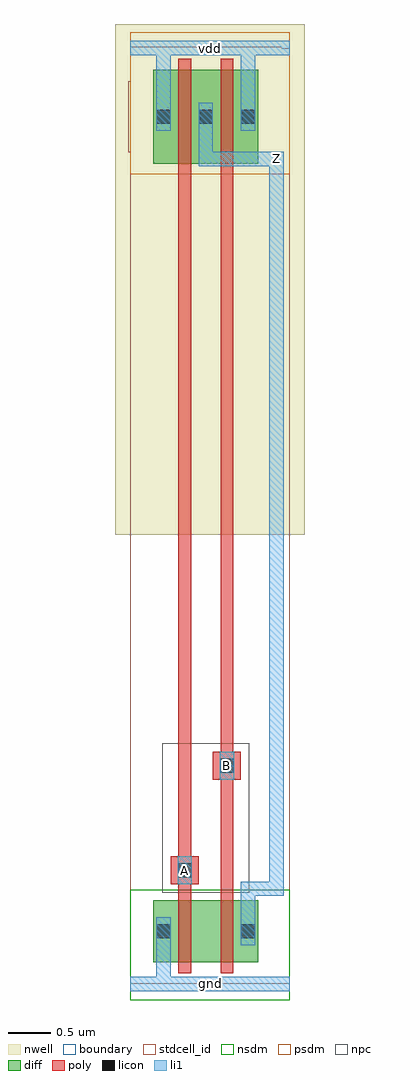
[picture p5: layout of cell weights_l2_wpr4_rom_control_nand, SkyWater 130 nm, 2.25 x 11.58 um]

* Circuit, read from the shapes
.subckt weights_l2_wpr4_rom_control_nand A B Z gnd vdd
XM1 weights_l2_wpr4_nmos_m1_w0_740_sli_dactive_2/D A gnd VSUBS sky130_fd_pr__nfet_01v8 w=0.74 l=0.15
XM2 Z B weights_l2_wpr4_nmos_m1_w0_740_sli_dactive_2/D VSUBS sky130_fd_pr__nfet_01v8 w=0.74 l=0.15
XM3 Z A vdd n1 sky130_fd_pr__pfet_01v8 w=1.12 l=0.15
XM4 vdd B Z n1 sky130_fd_pr__pfet_01v8 w=1.12 l=0.15
.ends

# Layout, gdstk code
import gdstk
lib = gdstk.Library(unit=1e-6, precision=1e-09)
def R(c, l, rs):  # rectangles x0, y0, x1, y1
    for r in rs: c.add(gdstk.rectangle(r[:2], r[2:], *l))
nwell = (64, 20)
diff = (65, 20)
poly = (66, 20)
licon = (66, 44)
li1 = (67, 20)
stdcell_id = (81, 4)
nsdm = (93, 44)
psdm = (94, 20)
npc = (95, 20)
boundary = (235, 4)

weights_l2_wpr4_contact_ = lib.new_cell('weights_l2_wpr4_contact_10')
R(weights_l2_wpr4_contact_, nwell, [(-0.295,-0.255,0.545,0.585)])
R(weights_l2_wpr4_contact_, diff, [(0,0.02,0.25,0.31)])
R(weights_l2_wpr4_contact_, licon, [(0.04,0.08,0.21,0.25)])
R(weights_l2_wpr4_contact_, li1, [(0.04,0,0.21,0.33)])
R(weights_l2_wpr4_contact_, stdcell_id, [(-0.295,-0.255,0.545,0.585)])
R(weights_l2_wpr4_contact_, psdm, [(-0.125,-0.105,0.375,0.435)])
R(weights_l2_wpr4_contact_, boundary, [(-0.295,-0.255,0.545,0.585)])

weights_l2_wpr4_pmos_m1_ = lib.new_cell('weights_l2_wpr4_pmos_m1_w1_120_sli_dli')
R(weights_l2_wpr4_pmos_m1_, nwell, [(-0.27,-0.27,1.02,1.39)])
R(weights_l2_wpr4_pmos_m1_, diff, [(0,0,0.75,1.12)])
R(weights_l2_wpr4_pmos_m1_, poly, [(0.3,-0.13,0.45,1.25), (0.3,-0.13,0.45,1.25)])
R(weights_l2_wpr4_pmos_m1_, li1, [(0.04,0.395,0.21,0.725), (0.54,0.395,0.71,0.725)])
R(weights_l2_wpr4_pmos_m1_, stdcell_id, [(-0.27,-0.27,1.02,1.39)])
R(weights_l2_wpr4_pmos_m1_, psdm, [(-0.125,-0.125,0.875,1.245)])
R(weights_l2_wpr4_pmos_m1_, boundary, [(-0.27,-0.27,1.02,1.39)])
weights_l2_wpr4_pmos_m1_.add(gdstk.Reference(weights_l2_wpr4_contact_, (0,0.395)))
weights_l2_wpr4_pmos_m1_.add(gdstk.Reference(weights_l2_wpr4_contact_, (0.5,0.395)))
weights_l2_wpr4_pmos_m1_.add(gdstk.Label('G', (0.375,0.56), layer=66, texttype=5))
weights_l2_wpr4_pmos_m1_.add(gdstk.Label('S', (0.125,0.56), layer=67, texttype=5))
weights_l2_wpr4_pmos_m1_.add(gdstk.Label('D', (0.625,0.56), layer=67, texttype=5))

c_weights_l2_wpr4_contact_ = lib.new_cell('weights_l2_wpr4_contact_8')
R(c_weights_l2_wpr4_contact_, diff, [(0,0.02,0.25,0.31)])
R(c_weights_l2_wpr4_contact_, licon, [(0.04,0.08,0.21,0.25)])
R(c_weights_l2_wpr4_contact_, li1, [(0.04,0,0.21,0.33)])
R(c_weights_l2_wpr4_contact_, stdcell_id, [(-0.125,-0.105,0.375,0.435)])
R(c_weights_l2_wpr4_contact_, nsdm, [(-0.125,-0.105,0.375,0.435)])
R(c_weights_l2_wpr4_contact_, boundary, [(-0.125,-0.105,0.375,0.435)])

weights_l2_wpr4_nmos_m1_ = lib.new_cell('weights_l2_wpr4_nmos_m1_w0_740_sli_dactive')
R(weights_l2_wpr4_nmos_m1_, diff, [(0,0,0.75,0.74), (0.55,0.295,0.7,0.445)])
R(weights_l2_wpr4_nmos_m1_, poly, [(0.3,-0.13,0.45,0.87), (0.3,-0.13,0.45,0.87)])
R(weights_l2_wpr4_nmos_m1_, li1, [(0.04,0.205,0.21,0.535)])
R(weights_l2_wpr4_nmos_m1_, stdcell_id, [(-0.125,-0.13,0.875,0.87)])
R(weights_l2_wpr4_nmos_m1_, nsdm, [(-0.125,-0.125,0.875,0.865)])
R(weights_l2_wpr4_nmos_m1_, boundary, [(-0.125,-0.13,0.875,0.87)])
weights_l2_wpr4_nmos_m1_.add(gdstk.Reference(c_weights_l2_wpr4_contact_, (0,0.205)))
weights_l2_wpr4_nmos_m1_.add(gdstk.Label('G', (0.375,0.37), layer=66, texttype=5))
weights_l2_wpr4_nmos_m1_.add(gdstk.Label('S', (0.125,0.37), layer=67, texttype=5))
weights_l2_wpr4_nmos_m1_.add(gdstk.Label('D', (0.625,0.37), layer=65, texttype=5))

c_weights_l2_wpr4_nmos_m1_ = lib.new_cell('weights_l2_wpr4_nmos_m1_w0_740_sactive_dli')
R(c_weights_l2_wpr4_nmos_m1_, diff, [(0,0,0.75,0.74), (0.05,0.295,0.2,0.445)])
R(c_weights_l2_wpr4_nmos_m1_, poly, [(0.3,-0.13,0.45,0.87), (0.3,-0.13,0.45,0.87)])
R(c_weights_l2_wpr4_nmos_m1_, li1, [(0.54,0.205,0.71,0.535)])
R(c_weights_l2_wpr4_nmos_m1_, stdcell_id, [(-0.125,-0.13,0.875,0.87)])
R(c_weights_l2_wpr4_nmos_m1_, nsdm, [(-0.125,-0.125,0.875,0.865)])
R(c_weights_l2_wpr4_nmos_m1_, boundary, [(-0.125,-0.13,0.875,0.87)])
c_weights_l2_wpr4_nmos_m1_.add(gdstk.Reference(c_weights_l2_wpr4_contact_, (0.5,0.205)))
c_weights_l2_wpr4_nmos_m1_.add(gdstk.Label('G', (0.375,0.37), layer=66, texttype=5))
c_weights_l2_wpr4_nmos_m1_.add(gdstk.Label('S', (0.125,0.37), layer=65, texttype=5))
c_weights_l2_wpr4_nmos_m1_.add(gdstk.Label('D', (0.625,0.37), layer=67, texttype=5))

c_weights_l2_wpr4_contact__ = lib.new_cell('weights_l2_wpr4_contact_11')
R(c_weights_l2_wpr4_contact__, poly, [(0,0,0.33,0.33)])
R(c_weights_l2_wpr4_contact__, licon, [(0.08,0.08,0.25,0.25)])
R(c_weights_l2_wpr4_contact__, li1, [(0.08,0,0.25,0.33)])
R(c_weights_l2_wpr4_contact__, stdcell_id, [(-0.1,-0.1,0.43,0.43)])
R(c_weights_l2_wpr4_contact__, npc, [(-0.1,-0.1,0.43,0.43)])
R(c_weights_l2_wpr4_contact__, boundary, [(-0.1,-0.1,0.43,0.43)])

weights_l2_wpr4_rom_cont = lib.new_cell('weights_l2_wpr4_rom_control_nand')
R(weights_l2_wpr4_rom_cont, nwell, [(-0.18,5.33,2.07,11.39)])
R(weights_l2_wpr4_rom_cont, poly, [(0.57,1.125,0.72,9.6), (1.07,1.125,1.22,9.6), (0.57,1.185,0.645,1.515), (1.07,2.425,1.145,2.755)])
R(weights_l2_wpr4_rom_cont, li1, [(0,-0.085,1.89,0.085), (0.31,-0.085,0.48,0.46), (1.31,0.79,1.48,1.13), (1.31,1.045,1.48,1.215), (1.395,1.045,1.735,1.215), (1.65,1.045,1.82,1.215), (1.65,1.13,1.82,9.79), (0.56,1.185,0.73,1.515), (1.06,2.425,1.23,2.755), (0.81,9.705,0.98,9.875), (0.895,9.705,1.735,9.875), (1.65,9.705,1.82,9.875), (0.81,9.79,0.98,10.125), (0.31,10.125,0.48,11.19), (1.31,10.125,1.48,11.19), (0,11.02,1.89,11.19)])
R(weights_l2_wpr4_rom_cont, stdcell_id, [(0,0,1.89,11.1), (0,0,1.89,11.1)])
R(weights_l2_wpr4_rom_cont, nsdm, [(0,-0.19,1.89,0.19), (0,0,1.89,1.12)])
R(weights_l2_wpr4_rom_cont, psdm, [(0,9.605,1.89,11.105), (0,10.91,1.89,11.29)])
R(weights_l2_wpr4_rom_cont, npc, [(0.38,1.085,1.41,2.855)])
R(weights_l2_wpr4_rom_cont, boundary, [(0,0,1.89,11.1), (0,0,1.89,11.1)])
weights_l2_wpr4_rom_cont.add(gdstk.Reference(weights_l2_wpr4_pmos_m1_, (0.27,9.73)))
weights_l2_wpr4_rom_cont.add(gdstk.Reference(weights_l2_wpr4_pmos_m1_, (0.77,9.73)))
weights_l2_wpr4_rom_cont.add(gdstk.Reference(weights_l2_wpr4_nmos_m1_, (0.27,0.255)))
weights_l2_wpr4_rom_cont.add(gdstk.Reference(c_weights_l2_wpr4_nmos_m1_, (0.77,0.255)))
weights_l2_wpr4_rom_cont.add(gdstk.Reference(c_weights_l2_wpr4_contact__, (0.48,1.185)))
weights_l2_wpr4_rom_cont.add(gdstk.Reference(c_weights_l2_wpr4_contact__, (0.98,2.425)))
weights_l2_wpr4_rom_cont.add(gdstk.Label('Z', (1.735,9.79), layer=67, texttype=5))
weights_l2_wpr4_rom_cont.add(gdstk.Label('gnd', (0.945,0), layer=67, texttype=5))
weights_l2_wpr4_rom_cont.add(gdstk.Label('vdd', (0.945,11.105), layer=67, texttype=5))
weights_l2_wpr4_rom_cont.add(gdstk.Label('A', (0.645,1.35), layer=67, texttype=5))
weights_l2_wpr4_rom_cont.add(gdstk.Label('B', (1.145,2.59), layer=67, texttype=5))

lib.write_gds('weights_l2_wpr4_rom_control_nand.gds')
